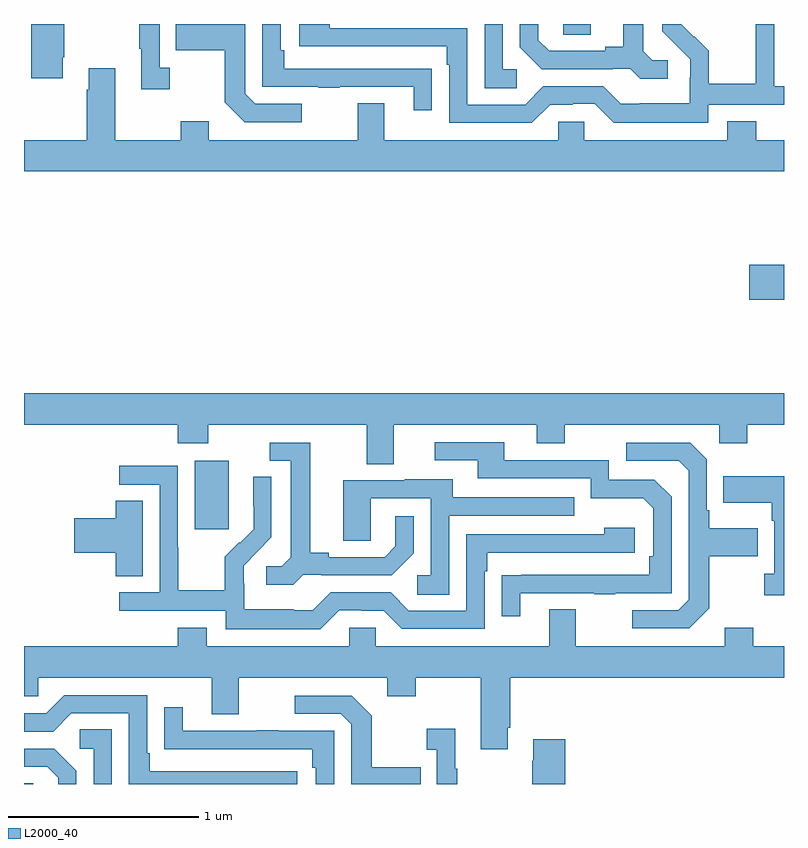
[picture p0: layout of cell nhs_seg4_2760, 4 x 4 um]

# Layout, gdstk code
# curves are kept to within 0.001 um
import gdstk
lib = gdstk.Library(unit=1e-6, precision=1e-09)
def R(c, l, rs):  # rectangles x0, y0, x1, y1
    for r in rs: c.add(gdstk.rectangle(r[:2], r[2:], *l))
def P(c, l, *ps):  # polygons
    for p in ps: c.add(gdstk.Polygon(p, *l))
L2000_40 = (2000, 40)

nhs_seg4_2760 = lib.new_cell('nhs_seg4_2760')
R(nhs_seg4_2760, L2000_40, [(255,822.9,255.048,822.905), (255.899,824.241,256.078,824.602), (258.816,825.449,259,825.632), (257.838,826.843,257.983,826.9)])
P(nhs_seg4_2760, L2000_40, [(258.6,826.476),(259,826.476),(259,826.572),(258.948,826.572),(258.948,826.9),(258.852,826.9),(258.852,826.808),(258.85,826.808),(258.85,826.585),(258.605,826.585),(258.605,826.759),(258.528,826.836),(258.525,826.833),(258.459,826.9),(258.36,826.9),(258.36,826.862),(258.506,826.714),(258.506,826.617),(258.504,826.617),(258.504,826.483),(258.241,826.483),(258.241,826.479),(258.141,826.479),(258.048,826.572),(257.733,826.572),(257.637,826.476),(257.334,826.476),(257.334,826.878),(256.61,826.878),(256.61,826.9),(256.449,826.9),(256.449,826.782),(257.225,826.782),(257.225,826.685),(257.238,826.685),(257.238,826.38),(257.673,826.38),(257.769,826.476),(257.888,826.476),(257.888,826.479),(258.003,826.479),(258.103,826.379),(258.6,826.379)],
  [(258.388,826.71),(258.306,826.71),(258.259,826.757),(258.259,826.9),(258.155,826.9),(258.155,826.781),(258.059,826.781),(258.059,826.758),(257.764,826.758),(257.707,826.815),(257.707,826.9),(257.61,826.9),(257.61,826.778),(257.726,826.662),(258.098,826.662),(258.098,826.665),(258.192,826.665),(258.244,826.613),(258.388,826.613)],
  [(257.593,826.662),(257.52,826.662),(257.52,826.9),(257.424,826.9),(257.424,826.561),(257.593,826.561)],
  [(255.766,826.67),(255.714,826.67),(255.714,826.9),(255.606,826.9),(255.606,826.769),(255.617,826.769),(255.617,826.557),(255.766,826.557)],
  [(255.205,826.726),(255.213,826.726),(255.213,826.9),(255.038,826.9),(255.038,826.614),(255.205,826.614)],
  [(257.147,826.664),(257.045,826.664),(257.045,826.665),(256.37,826.665),(256.37,826.762),(256.35,826.762),(256.35,826.9),(256.254,826.9),(256.254,826.569),(256.549,826.569),(256.549,826.564),(256.661,826.564),(256.661,826.569),(257.051,826.569),(257.051,826.446),(257.147,826.446)],
  [(256.462,826.479),(256.218,826.479),(256.164,826.533),(256.164,826.9),(255.799,826.9),(255.799,826.762),(256.056,826.762),(256.056,826.489),(256.161,826.383),(256.462,826.383)],
  [(259,826.288),(258.854,826.288),(258.854,826.387),(258.701,826.387),(258.701,826.288),(257.949,826.288),(257.949,826.386),(257.811,826.386),(257.811,826.288),(256.897,826.288),(256.897,826.483),(256.757,826.483),(256.757,826.288),(255.973,826.288),(255.973,826.387),(255.826,826.387),(255.826,826.288),(255.481,826.288),(255.481,826.666),(255.341,826.666),(255.341,826.553),(255.329,826.553),(255.329,826.288),(255,826.288),(255,826.124),(259,826.124)],
  [(256.945,824.792),(257.699,824.792),(257.699,824.693),(257.847,824.693),(257.847,824.792),(258.66,824.792),(258.66,824.693),(258.807,824.693),(258.807,824.792),(259,824.792),(259,824.956),(255,824.956),(255,824.792),(255.809,824.792),(255.809,824.693),(255.969,824.693),(255.969,824.792),(256.805,824.792),(256.805,824.584),(256.945,824.584)],
  [(257.611,823.905),(258.001,823.905),(258.001,823.9),(258.113,823.9),(258.113,823.905),(258.408,823.905),(258.408,824.412),(258.318,824.502),(258.078,824.502),(258.078,824.604),(257.527,824.604),(257.527,824.7),(257.163,824.7),(257.163,824.604),(257.387,824.604),(257.387,824.508),(257.982,824.508),(257.982,824.405),(258.259,824.405),(258.312,824.352),(258.312,824.098),(258.292,824.098),(258.292,824.001),(257.515,824),(257.515,823.782),(257.611,823.782)],
  [(258.607,823.825),(258.607,824.098),(258.863,824.098),(258.863,824.245),(258.607,824.245),(258.607,824.341),(258.594,824.341),(258.594,824.61),(258.507,824.697),(258.171,824.697),(258.171,824.601),(258.447,824.601),(258.498,824.55),(258.498,823.869),(258.444,823.815),(258.201,823.815),(258.201,823.719),(258.501,823.719)],
  [(256.47,824.001),(256.564,824.001),(256.564,823.998),(256.936,823.998),(257.052,824.114),(257.052,824.308),(256.955,824.308),(256.955,824.151),(256.898,824.094),(256.603,824.094),(256.603,824.117),(256.507,824.117),(256.507,824.697),(256.293,824.697),(256.293,824.601),(256.403,824.601),(256.403,824.093),(256.356,824.046),(256.275,824.046),(256.275,823.949),(256.418,823.949)],
  [(256.659,823.815),(256.775,823.815),(256.775,823.812),(256.893,823.812),(256.989,823.716),(257.424,823.716),(257.424,824.021),(257.437,824.021),(257.437,824.118),(258.214,824.118),(258.214,824.248),(258.053,824.248),(258.053,824.214),(257.328,824.214),(257.328,823.812),(257.025,823.812),(256.929,823.908),(256.614,823.908),(256.521,823.815),(256.421,823.815),(256.421,823.819),(256.158,823.819),(256.158,823.953),(256.156,823.953),(256.156,824.05),(256.302,824.198),(256.302,824.516),(256.206,824.516),(256.206,824.362),(256.208,824.362),(256.208,824.24),(256.137,824.169),(256.134,824.172),(256.057,824.095),(256.057,823.921),(255.813,823.921),(255.813,824.144),(255.81,824.144),(255.81,824.574),(255.501,824.574),(255.501,824.475),(255.714,824.475),(255.714,823.908),(255.501,823.908),(255.501,823.812),(256.062,823.812),(256.062,823.715),(256.559,823.715)],
  [(259,824.521),(258.679,824.521),(258.679,824.381),(258.936,824.381),(258.936,824.285),(258.948,824.285),(258.948,824.006),(258.897,824.006),(258.897,823.893),(259,823.893)],
  [(257.238,824.313),(257.897,824.313),(257.897,824.409),(257.257,824.409),(257.257,824.503),(257.003,824.503),(257.003,824.499),(256.679,824.499),(256.679,824.179),(256.824,824.179),(256.824,824.403),(257.142,824.403),(257.142,823.998),(257.07,823.998),(257.07,823.897),(257.238,823.897)],
  [(255.625,824.39),(255.482,824.39),(255.482,824.3),(255.264,824.3),(255.264,824.117),(255.482,824.117),(255.482,823.993),(255.625,823.993)],
  [(257.545,823.195),(257.558,823.195),(257.558,823.46),(259,823.46),(259,823.624),(258.837,823.624),(258.837,823.723),(258.689,823.723),(258.689,823.624),(257.905,823.624),(257.905,823.819),(257.765,823.819),(257.765,823.624),(256.851,823.624),(256.851,823.722),(256.713,823.722),(256.713,823.624),(255.961,823.624),(255.961,823.723),(255.809,823.723),(255.809,823.624),(255,823.624),(255,823.362),(255.075,823.362),(255.075,823.46),(255.989,823.46),(255.989,823.266),(256.129,823.266),(256.129,823.46),(256.913,823.46),(256.913,823.361),(257.061,823.361),(257.061,823.46),(257.405,823.46),(257.405,823.083),(257.545,823.083)],
  [(256.438,822.966),(255.661,822.966),(255.661,823.063),(255.648,823.063),(255.648,823.368),(255.213,823.368),(255.117,823.272),(255,823.272),(255,823.176),(255.153,823.176),(255.249,823.272),(255.552,823.272),(255.552,822.9),(256.438,822.9)],
  [(257.087,822.987),(256.831,822.987),(256.831,823.259),(256.725,823.365),(256.425,823.365),(256.425,823.269),(256.668,823.269),(256.722,823.215),(256.722,822.9),(257.087,822.9)],
  [(256.632,823.179),(256.337,823.179),(256.337,823.184),(256.225,823.184),(256.225,823.179),(255.835,823.179),(255.835,823.303),(255.739,823.303),(255.739,823.084),(255.841,823.084),(255.841,823.083),(256.516,823.083),(256.516,822.986),(256.536,822.986),(256.536,822.9),(256.632,822.9)],
  [(257.281,822.979),(257.269,822.979),(257.269,823.192),(257.121,823.192),(257.121,823.079),(257.172,823.079),(257.172,822.9),(257.281,822.9)],
  [(255.462,823.187),(255.294,823.187),(255.294,823.086),(255.366,823.086),(255.366,822.9),(255.462,822.9)],
  [(257.849,823.135),(257.681,823.135),(257.681,823.022),(257.674,823.022),(257.674,822.9),(257.849,822.9)],
  [(255.276,822.97),(255.16,823.086),(255,823.086),(255,822.99),(255.122,822.99),(255.179,822.933),(255.179,822.9),(255.276,822.9)])

lib.write_gds('nhs_seg4_2760.gds')
